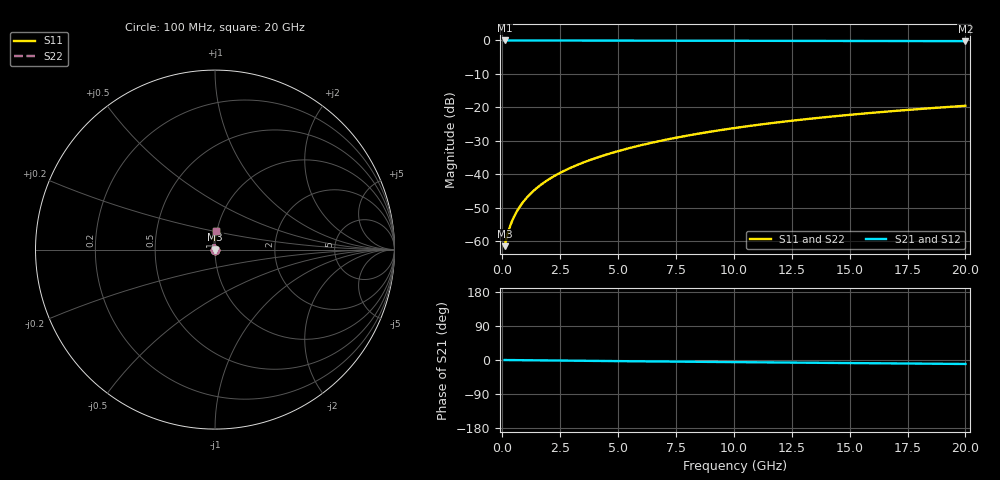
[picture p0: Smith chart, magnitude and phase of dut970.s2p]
! Touchstone file exported from HFSS 2024.1.0
!  File:  C:/UserFiles/LocalFiles/RDL_TSV_Batchsim/temp_RDL_top_970_1779938796.aedt
!  Generated:  11:28:55 AM May 28, 2026
!  Design:  RDL_top
!  Project:  temp_RDL_top_970_1779938796
!  Setup:  Setup1
!  Solution:  Sweep
! Variables:
!  dtsv = 10.80580581um
!  hbump = 3um
!  htsv = 68.8um
!  ldown = 100um
!  lrdl = 132.13um
!  p = 40
!  p1 = 48.11um
!  rhole = 1um
!  t = 450um
!  tdown = 3.915915916um
!  trdl = 3.73um
!  wdown = 15.38538539um
!  wrdl = 27.37um
# GHz S MA R 50.000000
! Terminal data exported
! Port[1] = Box2_T1
! Port[2] = Box2_T2
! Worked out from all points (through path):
!   200 points, 100 MHz to 20 GHz, reference 50 ohm
!   highest |S21| = -0.01 dB at 100 MHz (marker M1); lowest = -0.2 dB at 20 GHz (marker M2)
!   group delay of S21, straight-line fit = 1.43 ps
!   lowest |S11| = -61.5 dB at 100 MHz (marker M3), VSWR 1.00, Z = 50.1 + j0.0474 ohm
!   |S11| at or under -10 dB: start of sweep to end of sweep
!   |S22| runs from -61.5 to -19.5 dB; largest |S21 - S12| = 2.2e-15
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0.1  0.0008409 34.3  0.9993 -0.1  0.9993 -0.1  0.0008409 34.3
! Gamma 0 0 0 0
! Port Impedance 50 0 50 0
0.2  0.001176 51.3  0.9993 -0.1  0.9993 -0.1  0.001176 51.3
0.3  0.001543 60.0  0.9992 -0.2  0.9992 -0.2  0.001543 60.0
0.4  0.001914 65.5  0.9991 -0.3  0.9991 -0.3  0.001914 65.5
0.5  0.00229 69.5  0.9991 -0.3  0.9991 -0.3  0.00229 69.5
0.6  0.00267 72.5  0.9991 -0.4  0.9991 -0.4  0.00267 72.5
0.8  0.003446 76.8  0.999 -0.5  0.999 -0.5  0.003446 76.8
1.1  0.004639 80.9  0.9988 -0.7  0.9988 -0.7  0.004639 80.9
1.3  0.005448 82.8  0.9987 -0.8  0.9987 -0.8  0.005448 82.8
1.6  0.006682 84.9  0.9985 -1.0  0.9985 -1.0  0.006682 84.9
2.1  0.008783 87.4  0.9981 -1.3  0.9981 -1.3  0.008783 87.4
2.7  0.01138 89.4  0.9976 -1.7  0.9976 -1.7  0.01138 89.4
3.5  0.01498 91.2  0.9966 -2.1  0.9966 -2.1  0.01498 91.2
4.2  0.01825 92.2  0.9957 -2.5  0.9957 -2.5  0.01825 92.2
5  0.02214 93.0  0.9945 -3.0  0.9945 -3.0  0.02214 93.0
6.8  0.03138 93.7  0.9918 -4.0  0.9918 -4.0  0.03138 93.7
8.4  0.04002 93.4  0.9894 -4.8  0.9894 -4.8  0.04002 93.4
10.1  0.04948 92.7  0.9871 -5.7  0.9871 -5.7  0.04948 92.7
11.7  0.05851 91.8  0.985 -6.5  0.985 -6.5  0.05851 91.8
13.4  0.06818 90.6  0.9829 -7.3  0.9829 -7.3  0.06818 90.6
16.7  0.08694 88.3  0.9793 -8.9  0.9793 -8.9  0.08694 88.3
20  0.1055 86.0  0.9758 -10.5  0.9758 -10.5  0.1055 86.0
